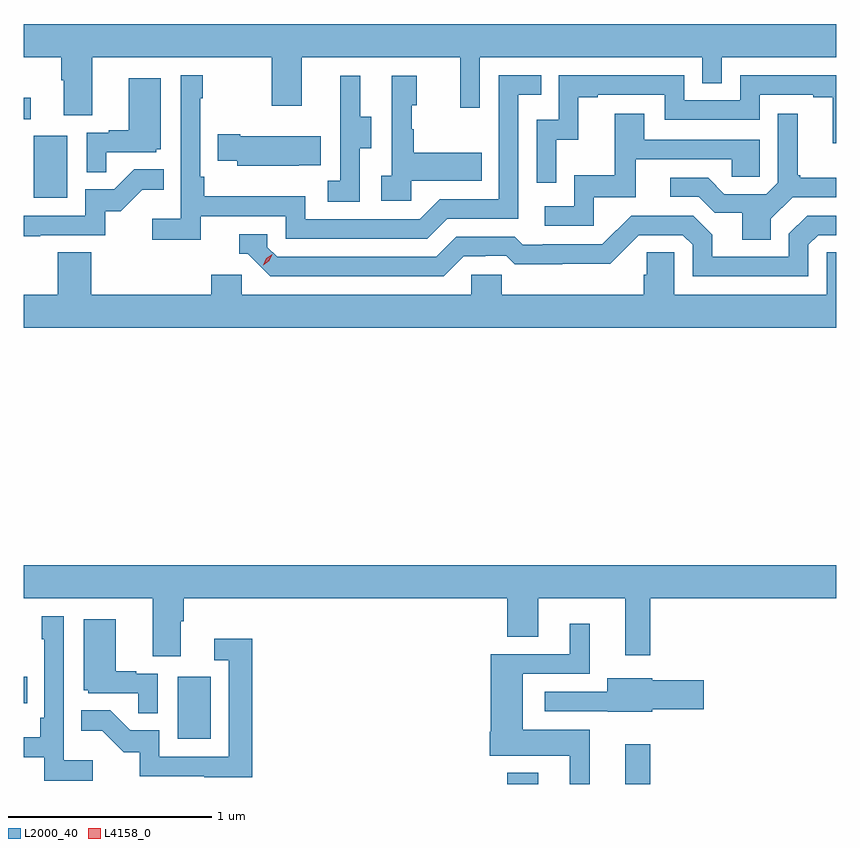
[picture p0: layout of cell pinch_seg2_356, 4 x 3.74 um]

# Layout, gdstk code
import gdstk
lib = gdstk.Library(unit=1e-6, precision=1e-09)
def R(c, l, rs):  # rectangles x0, y0, x1, y1
    for r in rs: c.add(gdstk.rectangle(r[:2], r[2:], *l))
def P(c, l, *ps):  # polygons
    for p in ps: c.add(gdstk.Polygon(p, *l))
L2000_40 = (2000, 40)
L4158_0 = (4158, 0)

pinch_seg2_356 = lib.new_cell('pinch_seg2_356')
R(pinch_seg2_356, L2000_40, [(971.291,634.734,971.443,634.789), (971.873,634.734,971.995,634.93), (969.668,634.956,969.832,635.263), (968.911,635.132,968.927,635.262), (968.96,637.62,969.124,637.927), (968.911,638.007,968.944,638.113)])
P(pinch_seg2_356, L2000_40, [(969.247,638.312),(970.132,638.312),(970.132,638.073),(970.279,638.073),(970.279,638.312),(971.06,638.312),(971.06,638.064),(971.157,638.064),(971.157,638.312),(972.252,638.312),(972.252,638.185),(972.348,638.185),(972.348,638.312),(972.911,638.312),(972.911,638.476),(968.911,638.476),(968.911,638.312),(969.095,638.312),(969.095,638.2),(969.107,638.2),(969.107,638.026),(969.247,638.026)],
  [(969.782,637.53),(970.2,637.53),(970.2,637.419),(970.897,637.419),(970.996,637.518),(971.346,637.518),(971.346,638.127),(971.459,638.127),(971.459,638.223),(971.25,638.223),(971.25,637.614),(970.959,637.614),(970.86,637.515),(970.296,637.515),(970.296,637.627),(969.8,637.627),(969.8,637.723),(969.78,637.723),(969.78,638.111),(969.793,638.111),(969.793,638.224),(969.684,638.224),(969.684,637.516),(969.543,637.516),(969.543,637.414),(969.782,637.414)],
  [(971.532,637.907),(971.642,637.907),(971.642,638.115),(971.737,638.115),(971.737,638.127),(972.066,638.127),(972.066,638.004),(972.534,638.004),(972.534,638.127),(972.797,638.127),(972.797,638.115),(972.893,638.115),(972.893,637.889),(972.911,637.889),(972.911,638.223),(972.438,638.223),(972.438,638.1),(972.162,638.1),(972.162,638.223),(971.544,638.223),(971.544,638.004),(971.436,638.004),(971.436,637.695),(971.532,637.695)],
  [(970.566,637.864),(970.621,637.864),(970.621,638.019),(970.567,638.019),(970.567,638.221),(970.469,638.221),(970.469,638.007),(970.47,638.007),(970.47,637.703),(970.407,637.703),(970.407,637.6),(970.566,637.6)],
  [(970.818,637.703),(971.165,637.703),(971.165,637.843),(970.831,637.843),(970.831,637.958),(970.821,637.958),(970.821,638.076),(970.846,638.076),(970.846,638.221),(970.722,638.221),(970.722,637.73),(970.671,637.73),(970.671,637.605),(970.818,637.605)],
  [(969.317,637.845),(969.564,637.845),(969.564,637.86),(969.586,637.86),(969.586,638.209),(969.428,638.209),(969.428,637.954),(969.329,637.954),(969.329,637.941),(969.222,637.941),(969.222,637.747),(969.317,637.747)],
  [(972.589,637.516),(972.696,637.623),(972.911,637.623),(972.911,637.72),(972.733,637.72),(972.733,637.732),(972.721,637.732),(972.721,638.035),(972.624,638.035),(972.624,637.695),(972.567,637.638),(972.361,637.638),(972.28,637.719),(972.093,637.719),(972.093,637.626),(972.234,637.626),(972.314,637.546),(972.449,637.546),(972.449,637.414),(972.589,637.414)],
  [(971.718,637.623),(971.923,637.623),(971.923,637.809),(972.397,637.809),(972.397,637.725),(972.534,637.725),(972.534,637.905),(971.965,637.905),(971.965,638.035),(971.821,638.035),(971.821,637.732),(971.622,637.732),(971.622,637.578),(971.475,637.578),(971.475,637.482),(971.718,637.482)],
  [(970.265,637.781),(970.373,637.781),(970.373,637.924),(969.976,637.924),(969.976,637.932),(969.865,637.932),(969.865,637.802),(969.963,637.802),(969.963,637.778),(970.265,637.778)],
  [(968.993,637.437),(969.312,637.437),(969.312,637.554),(969.388,637.554),(969.495,637.661),(969.599,637.661),(969.599,637.76),(969.455,637.76),(969.357,637.662),(969.213,637.662),(969.213,637.533),(968.911,637.533),(968.911,637.432),(968.993,637.432)],
  [(971.077,637.332),(971.184,637.332),(971.184,637.335),(971.287,637.335),(971.329,637.293),(971.562,637.293),(971.562,637.295),(971.798,637.295),(971.94,637.437),(972.156,637.437),(972.204,637.389),(972.204,637.233),(972.774,637.233),(972.774,637.389),(972.822,637.437),(972.911,637.437),(972.911,637.533),(972.768,637.533),(972.678,637.443),(972.678,637.329),(972.301,637.329),(972.301,637.439),(972.207,637.533),(971.901,637.533),(971.76,637.392),(971.467,637.392),(971.467,637.389),(971.368,637.389),(971.329,637.428),(971.04,637.428),(970.941,637.329),(970.158,637.329),(970.11,637.377),(970.11,637.44),(969.971,637.44),(969.971,637.344),(970.014,637.344),(970.125,637.233),(970.978,637.233)],
  [(972.911,637.352),(972.864,637.352),(972.864,637.144),(972.114,637.144),(972.114,637.352),(971.977,637.352),(971.977,637.242),(971.963,637.242),(971.963,637.144),(971.265,637.144),(971.265,637.242),(971.115,637.242),(971.115,637.144),(969.984,637.144),(969.984,637.242),(969.833,637.242),(969.833,637.144),(969.242,637.144),(969.242,637.352),(969.077,637.352),(969.077,637.144),(968.911,637.144),(968.911,636.98),(972.911,636.98)],
  [(969.685,635.536),(969.698,635.536),(969.698,635.648),(971.291,635.648),(971.291,635.458),(971.443,635.458),(971.443,635.648),(971.873,635.648),(971.873,635.367),(971.995,635.367),(971.995,635.648),(972.911,635.648),(972.911,635.812),(968.911,635.812),(968.911,635.648),(969.545,635.648),(969.545,635.362),(969.685,635.362)],
  [(969.25,634.852),(969.108,634.852),(969.108,635.56),(969,635.56),(969,635.447),(969.012,635.447),(969.012,635.059),(968.992,635.059),(968.992,634.963),(968.911,634.963),(968.911,634.866),(969.011,634.866),(969.011,634.75),(969.25,634.75)],
  [(969.57,635.277),(969.464,635.277),(969.464,635.29),(969.364,635.29),(969.364,635.545),(969.206,635.545),(969.206,635.196),(969.228,635.196),(969.228,635.181),(969.475,635.181),(969.475,635.083),(969.57,635.083)],
  [(971.698,635.002),(971.368,635.002),(971.368,635.277),(971.698,635.277),(971.698,635.524),(971.6,635.524),(971.6,635.373),(971.21,635.373),(971.21,634.992),(971.204,634.992),(971.204,634.874),(971.6,634.874),(971.6,634.734),(971.698,634.734)],
  [(970.037,635.449),(969.849,635.449),(969.849,635.343),(969.921,635.343),(969.921,634.869),(969.579,634.869),(969.579,634.998),(969.435,634.998),(969.337,635.096),(969.193,635.096),(969.193,634.997),(969.297,634.997),(969.404,634.89),(969.481,634.89),(969.481,634.773),(969.799,634.773),(969.799,634.768),(970.037,634.768)],
  [(972.006,635.102),(972.259,635.102),(972.259,635.244),(972.006,635.244),(972.006,635.254),(971.783,635.254),(971.783,635.187),(971.475,635.187),(971.475,635.091),(971.787,635.091),(971.787,635.09),(972.006,635.09)])
P(pinch_seg2_356, L4158_0, [(970.089,637.289),(970.089,637.289),(970.104,637.322),(970.134,637.343),(970.134,637.343),(970.134,637.342),(970.119,637.31),(970.089,637.289)])

lib.write_gds('pinch_seg2_356.gds')
